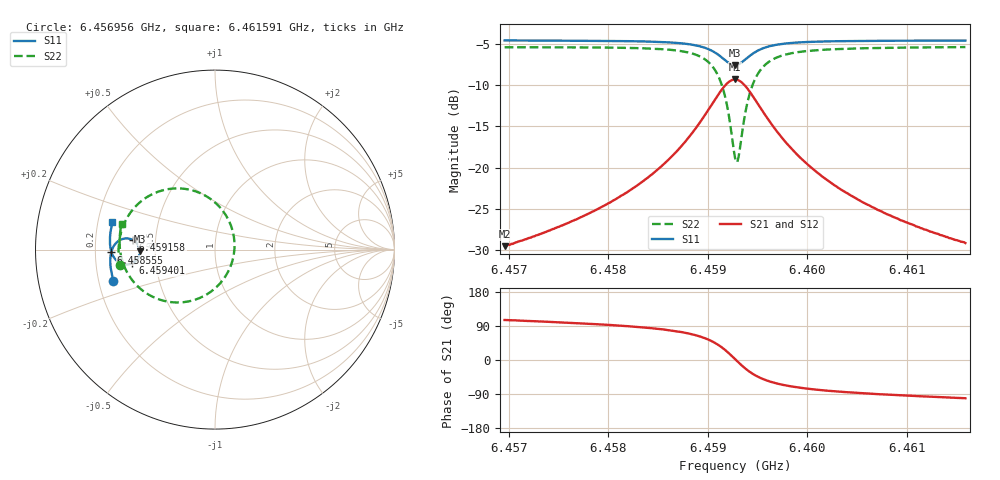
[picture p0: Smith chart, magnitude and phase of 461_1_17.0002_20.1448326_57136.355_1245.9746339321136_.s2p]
#  HZ  S  RI  R  50.00
! Rohde & Schwarz Vector Network Analyzer
! Rohde-Schwarz,ZNB20-2Port,1311601062101988,3.16
! Created: UTC 3/20/2024, 11:12:46 PM
! freq[Hz]  re:S11  im:S11  re:S21  im:S21  re:S12  im:S12  re:S22  im:S22
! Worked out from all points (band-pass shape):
!   401 points, 6.456956 GHz to 6.461591 GHz, reference 50 ohm
!   highest |S21| = -9.29 dB at 6.459273 GHz (marker M1); lowest = -29.5 dB at 6.456956 GHz (marker M2)
!   |S21| within 3 dB of the highest: 6.459043 GHz to 6.459505 GHz (462.4 kHz wide, 0.00716 % of centre)
!   lowest |S11| = -7.5 dB at 6.459273 GHz (marker M3), VSWR 2.44, Z = 20.5 - j0.508 ohm
!   |S11| at or under -10 dB: nowhere
!   |S22| runs from -19.3 to -5.4 dB; largest |S21 - S12| = 0.013
!   S11 on the Smith chart (normalised r, x): 6.456956 GHz: 0.26, -0.14; 6.458555 GHz: 0.27, -0.01; 6.459158 GHz: 0.37, +0.05; 6.459401 GHz: 0.37, -0.07; 6.461591 GHz: 0.26, +0.12
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6.4569563e9  -0.5662 -0.1737  -0.00894 0.0321  -0.00727 0.0322  -0.5314 -0.0867
6.4577325e9  -0.5805 -0.106  -0.00575 0.0499  -0.00321 0.0493  -0.5373 0.00348
6.4581728e9  -0.5835 -0.0621  0.000449 0.07  0.0037 0.0688  -0.5289 0.073
6.4585088e9  -0.5799 -0.0218  0.0138 0.0979  0.0178 0.0952  -0.5044 0.1485
6.4585551e9  -0.5784 -0.0156  0.0173 0.1033  0.0213 0.1004  -0.4981 0.1617
6.4587637e9  -0.5664 0.0161  0.0432 0.1349  0.0473 0.1302  -0.4495 0.233
6.4589143e9  -0.5453 0.0425  0.0855 0.165  0.0887 0.1585  -0.3716 0.297
6.4590649e9  -0.4993 0.0621  0.1767 0.1841  0.1777 0.1768  -0.2047 0.3411
6.4591576e9  -0.4552 0.0522  0.266 0.1533  0.2664 0.1475  -0.0391 0.2918
6.459204e9  -0.434 0.0335  0.3094 0.1109  0.3108 0.1057  0.0435 0.2162
6.4592735e9  -0.4192 -0.0102  0.3429 0.0147  0.3464 0.00783  0.1086 0.0376
6.4592851e9  -0.4197 -0.0183  0.3427 -0.00296  0.3464 -0.0105  0.1083 0.00424
6.4593082e9  -0.4231 -0.0338  0.3373 -0.0375  0.341 -0.0465  0.0975 -0.0612
6.4593546e9  -0.4386 -0.0597  0.309 -0.097  0.3111 -0.1088  0.0406 -0.1737
6.4594009e9  -0.4605 -0.0758  0.2673 -0.1379  0.2664 -0.151  -0.044 -0.2484
6.4594936e9  -0.5035 -0.0826  0.183 -0.1691  0.1769 -0.1804  -0.2117 -0.2944
6.4596442e9  -0.5471 -0.0621  0.0957 -0.1554  0.0873 -0.1616  -0.3783 -0.2456
6.4598064e9  -0.5684 -0.0343  0.0512 -0.1277  0.0435 -0.1305  -0.4584 -0.1739
6.4600498e9  -0.5811 0.00115  0.0221 -0.0965  0.0162 -0.0971  -0.506 -0.0918
6.4603857e9  -0.5854 0.0412  0.0065 -0.0704  0.00247 -0.0701  -0.527 -0.0152
6.460826e9  -0.5836 0.0853  -0.00149 -0.0514  -0.00432 -0.0506  -0.5315 0.0552
6.4615907e9  -0.5712 0.1528  -0.00658 -0.0342  -0.00812 -0.0334  -0.52 0.145
